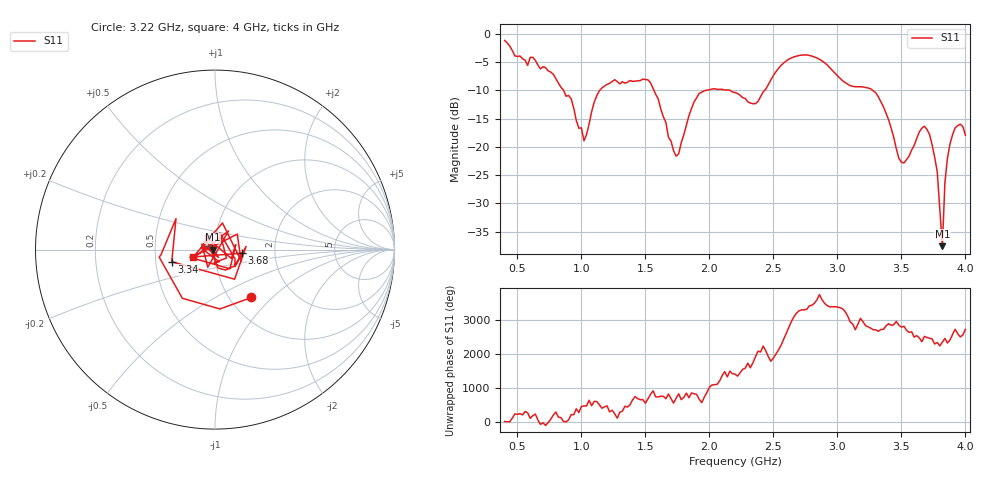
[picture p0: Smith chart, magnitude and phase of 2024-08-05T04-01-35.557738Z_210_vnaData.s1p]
!Created with skrf (http://scikit-rf.org).
# Hz S RI R 50.0
!freq ReS11 ImS11
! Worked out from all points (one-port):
!   181 points, 400 MHz to 4 GHz, reference 50 ohm
!   lowest |S11| = -37.6 dB at 3.82 GHz (marker M1), VSWR 1.03, Z = 48.7 - j0.006 ohm
!   |S11| at or under -10 dB: 861.2 MHz to 1.143 GHz (281.7 MHz wide, 28.1 % of centre); 1.567 GHz to 1.973 GHz (406.4 MHz wide, 23 % of centre); 3.276 GHz to end of sweep (the widest 3 of 4)
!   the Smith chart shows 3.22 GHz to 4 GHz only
!   S11 on the Smith chart (normalised r, x): 3.22 GHz: 1.26, -0.76; 3.34 GHz: 0.61, -0.09; 3.68 GHz: 1.35, -0.06; 4 GHz: 0.78, -0.06
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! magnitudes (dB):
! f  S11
! 400 MHz  -1.2
! 860 MHz  -9.9
! 920 MHz  -11.5
! 1.02 GHz  -18.9
! 1.14 GHz  -10.1
! 1.3 GHz  -8.9
! 1.54 GHz  -8.7
! 1.72 GHz  -20.7
! 1.76 GHz  -21.2
! 1.84 GHz  -14.5
! 1.92 GHz  -10.5
! 2.2 GHz  -10.4
! 2.36 GHz  -12.3
! 2.66 GHz  -4.1
! 2.86 GHz  -4.5
! 3.1 GHz  -9.2
! 3.22 GHz  -9.5
! 3.34 GHz  -12.0
! 3.48 GHz  -22.0
! 3.56 GHz  -21.6
! 3.68 GHz  -16.3
! 3.72 GHz  -17.8
! 3.78 GHz  -24.4
! 3.82 GHz  -37.6
! 3.84 GHz  -26.4
! 3.88 GHz  -19.5
! 3.94 GHz  -16.2
! 4 GHz  -17.9
